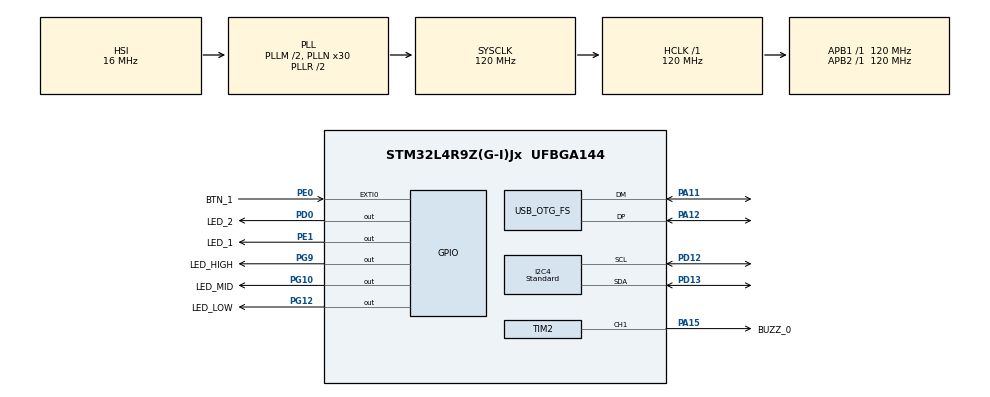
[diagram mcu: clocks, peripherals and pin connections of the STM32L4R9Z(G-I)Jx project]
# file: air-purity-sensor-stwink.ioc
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I2C4.I2C_Speed_Mode=I2C_Standard
I2C4.Speed=100
I2C4.Timing=0x30A175AB
Mcu.Family=STM32L4
Mcu.Name=STM32L4R9Z(G-I)Jx
Mcu.Package=UFBGA144
NVIC.EXTI0_IRQn=true\:0\:0\:false\:false\:true\:true\:true\:true
NVIC.I2C4_ER_IRQn=true\:0\:0\:false\:false\:true\:true\:true\:true
NVIC.I2C4_EV_IRQn=true\:0\:0\:false\:false\:true\:true\:true\:true
NVIC.OTG_FS_IRQn=true\:0\:0\:false\:false\:true\:false\:true\:true
NVIC.PriorityGroup=NVIC_PRIORITYGROUP_4
NVIC.RTC_WKUP_IRQn=true\:0\:0\:false\:false\:true\:true\:true\:true
NVIC.TIM2_IRQn=true\:0\:0\:false\:false\:true\:true\:true\:true
PA11.Mode=Device_Only
PA11.Signal=USB_OTG_FS_DM
PA12.Mode=Device_Only
PA12.Signal=USB_OTG_FS_DP
PA13\ (JTMS/SWDIO).Mode=Serial_Wire
PA13\ (JTMS/SWDIO).Signal=SYS_JTMS-SWDIO
PA14\ (JTCK/SWCLK).Mode=Serial_Wire
PA14\ (JTCK/SWCLK).Signal=SYS_JTCK-SWCLK
PA15\ (JTDI).GPIO_Label=BUZZ_0
PA15\ (JTDI).GPIO_ModeDefaultPP=GPIO_MODE_AF_PP
PA15\ (JTDI).Signal=S_TIM2_CH1
PD0.GPIO_Label=LED_2
PD0.PinState=GPIO_PIN_RESET
PD0.Signal=GPIO_Output
PD12.Mode=I2C
PD12.Signal=I2C4_SCL
PD13.Mode=I2C
PD13.Signal=I2C4_SDA
PE0.GPIO_Label=BTN_1
PE0.GPIO_ModeDefaultEXTI=GPIO_MODE_IT_RISING_FALLING
PE0.Signal=GPXTI0
PE1.GPIO_Label=LED_1
PE1.Signal=GPIO_Output
PG10.GPIO_Label=LED_MID
PG10.Signal=GPIO_Output
PG12.GPIO_Label=LED_LOW
PG12.Signal=GPIO_Output
PG9.GPIO_Label=LED_HIGH
PG9.Signal=GPIO_Output
ProjectManager.HeapSize=0x200
ProjectManager.StackSize=0x400
ProjectManager.TargetToolchain=CMake
RCC.ADCFreq_Value=76800000
RCC.AHBFreq_Value=120000000
RCC.APB1Freq_Value=120000000
RCC.APB1TimFreq_Value=120000000
RCC.APB2Freq_Value=120000000
RCC.APB2TimFreq_Value=120000000
RCC.CK48CLockSelection=RCC_USBCLKSOURCE_HSI48
RCC.CortexFreq_Value=120000000
RCC.DSITX_Div=1
RCC.HCLKFreq_Value=120000000
RCC.HSE_VALUE=16000000
RCC.HSI48_VALUE=48000000
RCC.HSI_VALUE=16000000
RCC.LSE_VALUE=32768
RCC.MSI_VALUE=4000000
RCC.PLLDSIODF=DSI_PLL_OUT_DIV2
RCC.PLLM1=2
RCC.PLLM2=5
RCC.PLLM3=2
RCC.PLLN=30
RCC.PLLSAI1N=96
RCC.PLLSAI1P=RCC_PLLP_DIV25
RCC.PLLSAI1Q=RCC_PLLQ_DIV4
RCC.PLLSAI1R=RCC_PLLR_DIV4
RCC.PLLSourceVirtual=RCC_PLLSOURCE_HSI
RCC.SDMMCClockSelection=RCC_SDIOCLKSOURCE_CLK48
RCC.SYSCLKFreq_VALUE=120000000
RCC.SYSCLKSource=RCC_SYSCLKSOURCE_PLLCLK
RCC.USBFreq_Value=48000000
RCC.VCOOutputFreq_Value=240000000
SH.S_TIM2_CH1.0=TIM2_CH1,PWM Generation1 CH1
TIM2.Channel-PWM\ Generation1\ CH1=TIM_CHANNEL_1
TIM2.OCFastMode_PWM-PWM\ Generation1\ CH1=TIM_OCFAST_ENABLE
TIM2.Period=999
TIM2.Prescaler=119
USB_DEVICE.CLASS_NAME_FS=CDC
USB_DEVICE.VirtualMode=Cdc
USB_DEVICE.VirtualModeFS=Cdc_FS
USB_OTG_FS.VirtualMode=Device_Only
VP_RTC_VS_RTC_Activate.Mode=RTC_Enabled
VP_RTC_VS_RTC_WakeUp_intern.Mode=WakeUp
VP_TIM2_VS_ClockSourceINT.Mode=Internal
VP_USB_DEVICE_VS_USB_DEVICE_CDC_FS.Mode=CDC_FS
board=STEVAL-STWINKT1B

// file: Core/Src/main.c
/* USER CODE BEGIN Header */
/**
 ******************************************************************************
 * @file           : main.c
 * @brief          : Main program body
 ******************************************************************************
 * @attention
 *
 * Copyright (c) 2025 STMicroelectronics.
 * All rights reserved.
 *
 * This software is licensed under terms that can be found in the LICENSE file
 * in the root directory of this software component.
 * If no LICENSE file comes with this software, it is provided AS-IS.
 *
 ******************************************************************************
 */
/* USER CODE END Header */
#include "main.h"
#include "usb_device.h"

/* USER CODE BEGIN Includes */
/**
 * @brief Project drivers / middleware.
 */
#include "driver_pwm-buzzer.h"
#include "driver_scd4x.h"
#include "driver_scd4x_debug.h"
#include "driver_scd4x_interface.h"
#include "driver_sen5x.h"
#include "driver_sen5x_debug.h"
#include "driver_sen5x_interface.h"
#include "driver_serial.h"
#include "oled_graph.h"

#include "ssd1306.h"
#include "ssd1306_conf.h"
#include "ssd1306_fonts.h"
#include "ssd1306_tests.h"

#include <math.h>
#include <stdbool.h>
#include <stddef.h>
#include <stdint.h>
#include <stdio.h>
#include <string.h>
/* USER CODE END Includes */

I2C_HandleTypeDef hi2c4;

RTC_HandleTypeDef hrtc;

TIM_HandleTypeDef htim2;

/* USER CODE BEGIN PV */
/**
 * @brief Sensor handles.
 */
static scd4x_handle_t scd4x_handle; /**< Initialized in SCD4x_Init() */
static sen5x_handle_t sen5x_handle; /**< Initialized in SEN5X_Init() */

/**
 * @brief Alert melody used by the buzzer.
 */
static const Buzzer_Note alert_melody[] = {
    {NOTE_C4, 166}, {NOTE_A4, 166}, {NOTE_F4, 166}, {0, 100}, /**< 0 = rest */
    {0xFFFF, 0},                                              /**< terminator */
};

/**
 * @brief Latest air data snapshot (for UI + serial).
 */
typedef struct {
  uint16_t co2_ppm;
  int16_t co2_delta_ppm;

  float pm1_ug_m3;
  float pm2p5_ug_m3;
  float pm4_ug_m3;
  float pm10_ug_m3;

  float voc_index;
  float nox_index;
} air_data_t;

static air_data_t g_air = {0};

/**
 * @brief Button event types emitted by EXTI ISR.
 */
typedef enum {
  BTN_EVENT_NONE = 0,
  BTN_EVENT_SHORT = 1,
  BTN_EVENT_SLEEP_TOGGLE = 2,
  BTN_EVENT_MUTE_TOGGLE = 3,
} btn_event_t;

/**
 * @brief Button runtime state (debounce + press timing).
 */
static volatile btn_event_t g_btn_event = BTN_EVENT_NONE;
static volatile uint8_t g_btn_pressed = 0U;
static volatile uint32_t g_btn_press_ms = 0U;
static volatile uint32_t g_btn_last_edge_ms = 0U;

/**
 * @brief Low power UI state (display off, keep sampling).
 */
static volatile uint8_t g_in_low_power = 0U;
static volatile uint8_t g_btn_wake = 0U;

/**
 * @brief Schedules.
 */
static uint32_t g_next_oled_ms = 0U;
static uint32_t g_next_legend_ms = 0U;
static uint32_t g_next_sample_ms = 0U;

static uint8_t g_active_item = 0U;

/**
 * @brief Sampling pending flags and per-sensor “start time” for timeouts.
 */
static uint8_t g_scd_pending = 0U;
static uint8_t g_sen_pending = 0U;
static uint32_t g_scd_start_ms = 0U;
static uint32_t g_sen_start_ms = 0U;

/**
 * @brief Serial print “dirty” flag (print only when new data arrives).
 */
static uint8_t g_serial_dirty = 0U;

/**
 * @brief Buzzer mute flag.
 */
static uint8_t g_buzzer_muted = 0U;

/**
 * @brief Alarm state.
 */
static uint32_t g_alarm_high_start_ms = 0U;
static uint32_t g_alarm_last_sustain_ms = 0U;
static uint32_t g_alarm_last_extreme_ms = 0U;

/**
 * @brief Small OLED “toast” message (non-blocking).
 */
static uint8_t g_toast_active = 0U;
static uint32_t g_toast_start_ms = 0U;
static uint32_t g_toast_dur_ms = 0U;
static char g_toast_msg[16] = {0};
/* USER CODE END PV */

void SystemClock_Config(void);
static void MX_GPIO_Init(void);
static void MX_I2C4_Init(void);
static void MX_TIM2_Init(void);
static void MX_RTC_Init(void);
/* USER CODE BEGIN PFP */
static void SCD4x_Init(scd4x_handle_t *scd4x_handle_p);
static void SEN5X_Init(sen5x_handle_t *sen5x_handle_p);
static void run_debug_tests(void);
static void ssd1306_DisplayDebugMode(void);
bool poll_is_debug_mode(void);

static uint32_t time_elapsed_ms(uint32_t now, uint32_t then);

static float normalize_for_graph(pollutant_id_t id, float value);
static aq_level_t aq_level_for(pollutant_id_t id, float value);
static void leds_set_level(aq_level_t level);

static uint8_t sensors_are_oneshot(void);
static void sensors_start_if_needed(uint32_t now);
static void sensors_stop_if_oneshot(void);
static void poll_scd4x(uint32_t now);
static void poll_sen5x(uint32_t now);

static void advance_legend(void);
static pollutant_id_t active_pollutant(void);

static void display_group_co2(void);
static void display_group_voc_nox(pollutant_id_t active);
static void display_group_pm1_pm25(pollutant_id_t active);
static void display_group_pm4_pm10(pollutant_id_t active);

static void serial_print_latest(pollutant_id_t active);

static void enter_low_power_mode(void);
static void exit_low_power_mode(void);

static float pollutant_value(pollutant_id_t id);

static void oled_toast_set(const char *msg, uint32_t now, uint32_t dur_ms);
static uint8_t oled_toast_is_active(uint32_t now);

static void alarm_tick(uint32_t now);
static void alarm_trigger(uint8_t extreme, uint32_t now);

static void ssd1306_DisplayCenteredMessage_11x18(char *msg);
/* USER CODE END PFP */

/* USER CODE BEGIN 0 */
/**
 * @brief Thresholds per pollutant used for AQ level + alarm comparisons.
 *
 * NOTE: Tune these later to your chosen standards.
 */
static const pollutant_thresholds_t g_thresh[POL_COUNT] = {
    [POL_CO2_DELTA] = {550.0f, 800.0f, 1350.0f}, /* Δppm */
    [POL_VOC_INDEX] = {100.0f, 150.0f, 500.0f},  /* VOC index */
    [POL_NOX_INDEX] = {1.0f, 10.0f, 50.0f},      /* NOx index */
    [POL_PM1_UGM3] = {5.0f, 10.0f, 20.0f},       /* μg/m3 */
    [POL_PM2P5_UGM3] = {5.0f, 10.0f, 20.0f},     /* μg/m3 */
    [POL_PM4_UGM3] = {15.0f, 20.0f, 50.0f},      /* μg/m3 */
    [POL_PM10_UGM3] = {15.0f, 20.0f, 50.0f},     /* μg/m3 */
};

/**
 * @brief Non-blocking OLED toast setter.
 */
static void oled_toast_set(const char *msg, uint32_t now, uint32_t dur_ms) {
  if (msg == NULL) {
    return;
  }

  size_t i = 0;
  for (; i < sizeof(g_toast_msg) - 1 && msg[i] != '\0'; i++) {
    g_toast_msg[i] = msg[i];
  }
  g_toast_msg[i] = '\0';

  g_toast_active = 1U;
  g_toast_start_ms = now;
  g_toast_dur_ms = dur_ms;
}

/**
 * @brief Check if toast is still active.
 */
static uint8_t oled_toast_is_active(uint32_t now) {
  if (!g_toast_active) {
    return 0U;
  }

  if (time_elapsed_ms(now, g_toast_start_ms) < g_toast_dur_ms) {
    return 1U;
  }

  g_toast_active = 0U;
  return 0U;
}

/**
 * @brief Return current value for a pollutant (for alarm scan).
 */
static float pollutant_value(pollutant_id_t id) {
  switch (id) {
  case POL_CO2_DELTA:
    return (float)g_air.co2_delta_ppm;
  case POL_VOC_INDEX:
    return g_air.voc_index;
  case POL_NOX_INDEX:
    return g_air.nox_index;
  case POL_PM1_UGM3:
    return g_air.pm1_ug_m3;
  case POL_PM2P5_UGM3:
    return g_air.pm2p5_ug_m3;
  case POL_PM4_UGM3:
    return g_air.pm4_ug_m3;
  case POL_PM10_UGM3:
    return g_air.pm10_ug_m3;
  default:
    return 0.0f;
  }
}

/**
 * @brief Trigger an alarm (sustained or extreme).
 */
static void alarm_trigger(uint8_t extreme, uint32_t now) {
#if (AIR_ALARM_WAKE_ON_ALARM == 1U)
  if (g_in_low_power) {
    exit_low_power_mode();
  }
#endif

  oled_toast_set(extreme ? "EXTREME!" : "ALARM!", now, 1500U);

  if (g_buzzer_muted) {
    serial_print("ALARM: %s (muted)\n", extreme ? "EXTREME" : "SUSTAINED");
    return;
  }

  serial_print("ALARM: %s\n", extreme ? "EXTREME" : "SUSTAINED");
  Buzzer_PlayMelody(alert_melody); /**< Blocking but short */
}

/**
 * @brief Alarm state machine tick.
 *
 * - If any pollutant is above MID threshold, “high” is true.
 * - If above MID threshold * multiplier, “extreme” is true.
 * - Sustained-high triggers every AIR_ALARM_SUSTAIN_MS after the first window.
 * - Extreme triggers every AIR_ALARM_EXTREME_MS while extreme persists.
 */
static void alarm_tick(uint32_t now) {
  uint8_t any_high = 0U;
  uint8_t any_extreme = 0U;

  for (pollutant_id_t id = (pollutant_id_t)0; id < POL_COUNT; id++) {
    float v = pollutant_value(id);
    if (!isfinite(v)) {
      continue;
    }

    float high_thr = g_thresh[id].mid_max;
    if (v >= high_thr) {
      any_high = 1U;
      if (v >= (high_thr * AIR_ALARM_EXTREME_MULTIPLIER)) {
        any_extreme = 1U;
      }
    }
  }

  /** Track sustained-high window. */
  if (!any_high) {
    g_alarm_high_start_ms = 0U;
    g_alarm_last_sustain_ms = 0U;
  } else if (g_alarm_high_start_ms == 0U) {
    g_alarm_high_start_ms = now;
  }

  /** EXTREME: alarm every AIR_ALARM_EXTREME_MS while extreme persists. */
  if (any_extreme) {
    if (g_alarm_last_extreme_ms == 0U ||
        time_elapsed_ms(now, g_alarm_last_extreme_ms) >= AIR_ALARM_EXTREME_MS) {
      alarm_trigger(1U, now);
      g_alarm_last_extreme_ms = now;
    }
    return; /**< Extreme overrides sustained. */
  } else {
    g_alarm_last_extreme_ms = 0U;
  }

  /** SUSTAINED: after AIR_ALARM_SUSTAIN_MS in HIGH, repeat every same interval.
   */
  if (any_high && g_alarm_high_start_ms != 0U &&
      time_elapsed_ms(now, g_alarm_high_start_ms) >= AIR_ALARM_SUSTAIN_MS) {

    if (g_alarm_last_sustain_ms == 0U ||
        time_elapsed_ms(now, g_alarm_last_sustain_ms) >= AIR_ALARM_SUSTAIN_MS) {
      alarm_trigger(0U, now);
      g_alarm_last_sustain_ms = now;
    }
  }
}

/**
 * @brief Monotonic elapsed milliseconds helper (handles uint32 wrap naturally).
 */
static uint32_t time_elapsed_ms(uint32_t now, uint32_t then) {
  return (uint32_t)(now - then);
}

/**
 * @brief Clamp float.
 */
static float clampf(float v, float lo, float hi) {
  if (v < lo) {
    return lo;
  }
  if (v > hi) {
    return hi;
  }
  return v;
}

/**
 * @brief Convert pollutant value into AQ level (LOW/MID/HIGH).
 */
static aq_level_t aq_level_for(pollutant_id_t id, float value) {
  if (value <= g_thresh[id].low_max) {
    return AQ_LEVEL_LOW;
  }
  if (value <= g_thresh[id].mid_max) {
    return AQ_LEVEL_MID;
  }
  return AQ_LEVEL_HIGH;
}

/**
 * @brief Normalize value to 0..100 for graph storage.
 */
static float normalize_for_graph(pollutant_id_t id, float value) {
  float maxv = g_thresh[id].graph_max;
  if (maxv <= 0.0f) {
    return 0.0f;
  }
  return (clampf(value, 0.0f, maxv) * 100.0f) / maxv;
}

/**
 * @brief Set LEDs according to AQ level.
 */
static void leds_set_level(aq_level_t level) {
  /* In low power mode: always force LEDs OFF. */
  if (g_in_low_power) {
    HAL_GPIO_WritePin(LED_LOW_GPIO_Port, LED_LOW_Pin, GPIO_PIN_RESET);
    HAL_GPIO_WritePin(LED_MID_GPIO_Port, LED_MID_Pin, GPIO_PIN_RESET);
    HAL_GPIO_WritePin(LED_HIGH_GPIO_Port, LED_HIGH_Pin, GPIO_PIN_RESET);
    return;
  }

  HAL_GPIO_WritePin(LED_LOW_GPIO_Port, LED_LOW_Pin,
                    (level == AQ_LEVEL_LOW) ? GPIO_PIN_SET : GPIO_PIN_RESET);
  HAL_GPIO_WritePin(LED_MID_GPIO_Port, LED_MID_Pin,
                    (level == AQ_LEVEL_MID) ? GPIO_PIN_SET : GPIO_PIN_RESET);
  HAL_GPIO_WritePin(LED_HIGH_GPIO_Port, LED_HIGH_Pin,
                    (level == AQ_LEVEL_HIGH) ? GPIO_PIN_SET : GPIO_PIN_RESET);
}

/**
 * @brief Center big message using Font_11x18 (11x18 px).
 *
 * Fix: if string is wider than the screen, x would go negative.
 * We clamp x/y to valid screen coordinates so the message is never “invisible”.
 */
static void ssd1306_DisplayCenteredMessage_11x18(char *msg) {
  const int32_t W = 11;
  const int32_t H = 18;

  int32_t px = (int32_t)strlen(msg) * W;
  int32_t x = ((int32_t)SSD1306_WIDTH - px) / 2;
  int32_t y = ((int32_t)SSD1306_HEIGHT - H) / 2;

  if (x < 0) {
    x = 0;
  }
  if (y < 0) {
    y = 0;
  }

  ssd1306_SetCursor((uint8_t)x, (uint8_t)y);
  ssd1306_WriteString(msg, Font_11x18, White);
}

/**
 * @brief Fixed 1 decimal formatter without using %f.
 */
static void fmt_fixed_1(char *dst, size_t dst_sz, float v) {
  if (!isfinite(v)) {
    (void)snprintf(dst, dst_sz, "-");
    return;
  }

  int32_t x10 = (int32_t)(v * 10.0f + (v >= 0.0f ? 0.5f : -0.5f));
  int32_t ip = x10 / 10;
  int32_t fp = x10 % 10;
  if (fp < 0) {
    fp = -fp;
  }

  (void)snprintf(dst, dst_sz, "%ld.%01ld", (long)ip, (long)fp);
}

/**
 * @brief Rounded integer formatter.
 */
static void fmt_round_int(char *dst, size_t dst_sz, float v) {
  if (!isfinite(v)) {
    (void)snprintf(dst, dst_sz, "-");
    return;
  }
  long iv = (long)(v >= 0.0f ? (v + 0.5f) : (v - 0.5f));
  (void)snprintf(dst, dst_sz, "%ld", iv);
}

/**
 * @brief Debug splash screen.
 */
void ssd1306_DisplayDebugMode(void) {
  ssd1306_Fill(Black);
  ssd1306_DisplayCenteredMessage_11x18("DEBUG MODE");
  ssd1306_UpdateScreen();
}

/**
 * @brief Legend sequence (drives which “page” is shown + which pollutant drives
 * LEDs).
 */
static const pollutant_id_t kLegendSeq[] = {
    POL_CO2_DELTA,  POL_VOC_INDEX, POL_NOX_INDEX, POL_PM1_UGM3,
    POL_PM2P5_UGM3, POL_PM4_UGM3,  POL_PM10_UGM3,
};

/**
 * @brief Advance legend index.
 */
static void advance_legend(void) {
  g_active_item =
      (uint8_t)((g_active_item + 1U) %
                (uint8_t)(sizeof(kLegendSeq) / sizeof(kLegendSeq[0])));
}

/**
 * @brief Get active pollutant.
 */
static pollutant_id_t active_pollutant(void) {
  return kLegendSeq[g_active_item];
}

/* --- OLED group renderers --- */
/**
 * @brief Render CO2 group (CO2 ppm + delta, with graph).
 */
static void display_group_co2(void) {
  char l1[24];
  char l2[24];

  (void)snprintf(l1, sizeof(l1), "CO2: %u ppm", (unsigned)g_air.co2_ppm);
  (void)snprintf(l2, sizeof(l2), "dCO2: %d ppm", (int)g_air.co2_delta_ppm);

  graph_plots_1t1b_ex(NULL, &sensor_ring_buffer_1, 0, 0, SSD1306_WIDTH,
                      SSD1306_HEIGHT, 2, "", "CO2", 1, 0);

  ssd1306_SetCursor(2, 2);
  ssd1306_WriteString(l1, Font_7x10, White);
  ssd1306_SetCursor(2, 14);
  ssd1306_WriteString(l2, Font_7x10, White);
}

/**
 * @brief Render VOC/NOx group.
 */
static void display_group_voc_nox(pollutant_id_t active) {
  char l1[24], l2[24];
  char voc_s[12], nox_s[12];

  fmt_round_int(voc_s, sizeof(voc_s), g_air.voc_index);
  fmt_round_int(nox_s, sizeof(nox_s), g_air.nox_index);

  (void)snprintf(l1, sizeof(l1), "VOC: %s", voc_s);
  (void)snprintf(l2, sizeof(l2), "NOx: %s", nox_s);

  graph_plots_1t2b_ex(NULL, &sensor_ring_buffer_2, &sensor_ring_buffer_3, 0, 0,
                      SSD1306_WIDTH, SSD1306_HEIGHT, 2, "", "VOC", "NOx",
                      (active == POL_VOC_INDEX) ? 1 : 2, 0);

  ssd1306_SetCursor(2, 2);
  ssd1306_WriteString(l1, Font_7x10, White);
  ssd1306_SetCursor(2, 14);
  ssd1306_WriteString(l2, Font_7x10, White);
}

/**
 * @brief Render PM1/PM2.5 group.
 */
static void display_group_pm1_pm25(pollutant_id_t active) {
  char l1[26], l2[25];
  char pm_1[12], pm_25[12];

  fmt_round_int(pm_1, sizeof(pm_1), g_air.pm1_ug_m3);
  fmt_round_int(pm_25, sizeof(pm_25), g_air.pm2p5_ug_m3);

  (void)snprintf(l1, sizeof(l1), "PM1: %s ug/m^3", pm_1);
  (void)snprintf(l2, sizeof(l2), "PM2.5: %s ug/m^3", pm_25);

  graph_plots_1t2b_ex(NULL, &sensor_ring_buffer_4, &sensor_ring_buffer_5, 0, 0,
                      SSD1306_WIDTH, SSD1306_HEIGHT, 2, "", "PM1", "PM2.5",
                      (active == POL_PM1_UGM3) ? 1 : 2, 0);

  ssd1306_SetCursor(2, 2);
  ssd1306_WriteString(l1, Font_7x10, White);
  ssd1306_SetCursor(2, 14);
  ssd1306_WriteString(l2, Font_7x10, White);
}

/**
 * @brief Render PM4/PM10 group.
 */
static void display_group_pm4_pm10(pollutant_id_t active) {
  char l1[24], l2[24];
  char pm_4[12], pm_10[12];

  fmt_round_int(pm_4, sizeof(pm_4), g_air.pm4_ug_m3);
  fmt_round_int(pm_10, sizeof(pm_10), g_air.pm10_ug_m3);

  (void)snprintf(l1, sizeof(l1), "PM4: %s ug/m^3", pm_4);
  (void)snprintf(l2, sizeof(l2), "PM10: %s ug/m^3", pm_10);

  graph_plots_1t2b_ex(NULL, &sensor_ring_buffer_6, &sensor_ring_buffer_7, 0, 0,
                      SSD1306_WIDTH, SSD1306_HEIGHT, 2, "", "PM4", "PM10",
                      (active == POL_PM4_UGM3) ? 1 : 2, 0);

  ssd1306_SetCursor(2, 2);
  ssd1306_WriteString(l1, Font_7x10, White);
  ssd1306_SetCursor(2, 14);
  ssd1306_WriteString(l2, Font_7x10, White);
}

/* --- sensors --- */
/**
 * @brief Determine if sensors should run in one-shot mode (interval >
 * threshold).
 */
static uint8_t sensors_are_oneshot(void) {
  return (AIR_SENSOR_SAMPLE_INTERVAL_S > AIR_SENSOR_STOP_IF_INTERVAL_GT_S) ? 1U
                                                                           : 0U;
}

/**
 * @brief Start sensors if in one-shot mode and pending.
 */
static void sensors_start_if_needed(uint32_t now) {
  if (!sensors_are_oneshot()) {
    return;
  }

  if (g_scd_pending && g_scd_start_ms == 0U) {
    if (scd4x_start_periodic_measurement(&scd4x_handle) == 0) {
      g_scd_start_ms = now;
    } else {
      g_scd_pending = 0U;
    }
  }

  if (g_sen_pending && g_sen_start_ms == 0U) {
    if (sen5x_start_measurement(&sen5x_handle) == 0) {
      g_sen_start_ms = now;
    } else {
      g_sen_pending = 0U;
    }
  }
}

/**
 * @brief Stop sensors in one-shot mode after pending cleared.
 */
static void sensors_stop_if_oneshot(void) {
  if (!sensors_are_oneshot()) {
    return;
  }

  if (g_scd_pending == 0U && g_scd_start_ms != 0U) {
    (void)scd4x_stop_periodic_measurement(&scd4x_handle);
    g_scd_start_ms = 0U;
  }

  if (g_sen_pending == 0U && g_sen_start_ms != 0U) {
    (void)sen5x_stop_measurement(&sen5x_handle);
    g_sen_start_ms = 0U;
  }
}

/**
 * @brief Poll SCD4x non-blocking.
 */
static void poll_scd4x(uint32_t now) {
  if (!g_scd_pending) {
    return;
  }

  if (g_scd_start_ms != 0U && time_elapsed_ms(now, g_scd_start_ms) > 20000U) {
    serial_print("SCD4x: timeout\n");
    g_scd_pending = 0U;
    g_serial_dirty = 1U;
    return;
  }

  scd4x_bool_t ready = SCD4X_BOOL_FALSE;
  if (scd4x_get_data_ready_status(&scd4x_handle, &ready) != 0) {
    return;
  }
  if (ready == SCD4X_BOOL_FALSE) {
    return;
  }

  uint16_t co2_raw = 0, co2_ppm = 0;
  uint16_t t_raw = 0, rh_raw = 0;
  float t_c = 0.0f, rh = 0.0f;

  if (scd4x_read(&scd4x_handle, &co2_raw, &co2_ppm, &t_raw, &t_c, &rh_raw,
                 &rh) != 0) {
    return;
  }
  if (co2_ppm == 0U && co2_raw != 0U) {
    co2_ppm = co2_raw;
  }

  g_air.co2_ppm = co2_ppm;
  int32_t d = (int32_t)co2_ppm - (int32_t)AIR_CO2_OUTDOOR_PPM;
  if (d < 0) {
    d = 0;
  }
  g_air.co2_delta_ppm = (int16_t)d;

  ring_buffer_push(
      &sensor_ring_buffer_1,
      normalize_for_graph(POL_CO2_DELTA, (float)g_air.co2_delta_ppm));

  g_scd_pending = 0U;
  g_serial_dirty = 1U;
}

/**
 * @brief Poll SEN5x non-blocking (SEN55 data path).
 */
static void poll_sen5x(uint32_t now) {
  if (!g_sen_pending) {
    return;
  }

  if (g_sen_start_ms != 0U && time_elapsed_ms(now, g_sen_start_ms) > 20000U) {
    serial_print("SEN5x: timeout (no data-ready)\n");
    g_sen_pending = 0U;
    g_serial_dirty = 1U;
    return;
  }

  sen5x_data_ready_flag_t flag = SEN5X_DATA_READY_FLAG_NOT_READY;
  if (sen5x_read_data_flag(&sen5x_handle, &flag) != 0) {
    return;
  }
  if (flag != SEN5X_DATA_READY_FLAG_AVAILABLE) {
    return;
  }

  sen55_data_t d = {0};
  if (sen55_read(&sen5x_handle, &d) != 0) {
    return;
  }

  if (d.pm_valid) {
    g_air.pm1_ug_m3 = d.pm1p0_ug_m3;
    g_air.pm2p5_ug_m3 = d.pm2p5_ug_m3;
    g_air.pm4_ug_m3 = d.pm4p0_ug_m3;
    g_air.pm10_ug_m3 = d.pm10_ug_m3;
  }
  g_air.voc_index = d.voc_index;
  g_air.nox_index = d.nox_index;

  ring_buffer_push(&sensor_ring_buffer_2,
                   normalize_for_graph(POL_VOC_INDEX, g_air.voc_index));
  ring_buffer_push(&sensor_ring_buffer_3,
                   normalize_for_graph(POL_NOX_INDEX, g_air.nox_index));
  ring_buffer_push(&sensor_ring_buffer_4,
                   normalize_for_graph(POL_PM1_UGM3, g_air.pm1_ug_m3));
  ring_buffer_push(&sensor_ring_buffer_5,
                   normalize_for_graph(POL_PM2P5_UGM3, g_air.pm2p5_ug_m3));
  ring_buffer_push(&sensor_ring_buffer_6,
                   normalize_for_graph(POL_PM4_UGM3, g_air.pm4_ug_m3));
  ring_buffer_push(&sensor_ring_buffer_7,
                   normalize_for_graph(POL_PM10_UGM3, g_air.pm10_ug_m3));

  g_sen_pending = 0U;
  g_serial_dirty = 1U;
}

/**
 * @brief Print latest values over serial.
 */
static void serial_print_latest(pollutant_id_t active) {
  char pm1_s[12], pm25_s[12], pm4_s[12], pm10_s[12];
  char voc_s[12], nox_s[12];

  fmt_fixed_1(pm1_s, sizeof(pm1_s), g_air.pm1_ug_m3);
  fmt_fixed_1(pm25_s, sizeof(pm25_s), g_air.pm2p5_ug_m3);
  fmt_fixed_1(pm4_s, sizeof(pm4_s), g_air.pm4_ug_m3);
  fmt_fixed_1(pm10_s, sizeof(pm10_s), g_air.pm10_ug_m3);

  fmt_round_int(voc_s, sizeof(voc_s), g_air.voc_index);
  fmt_round_int(nox_s, sizeof(nox_s), g_air.nox_index);

  serial_print("AIR: CO2=%u ppm (d=%d), PM1=%s, PM2.5=%s, PM4=%s, PM10=%s, "
               "VOC=%s, NOx=%s | active=%u\n",
               (unsigned)g_air.co2_ppm, (int)g_air.co2_delta_ppm, pm1_s, pm25_s,
               pm4_s, pm10_s, voc_s, nox_s, (unsigned)active);
}

/**
 * @brief Enter low power mode (display off, keep measurements).
 */
static void enter_low_power_mode(void) {
  if (g_in_low_power) {
    return;
  }

  g_in_low_power = 1U;

  /** One last message before display off. */
  ssd1306_Fill(Black);
  ssd1306_DisplayCenteredMessage_11x18("LOW POWER");
  ssd1306_UpdateScreen();
  HAL_Delay(1000);

  ssd1306_SetDisplayOn(0);
}

/**
 * @brief Exit low power mode (display on + schedule redraw).
 */
static void exit_low_power_mode(void) {
  if (!g_in_low_power) {
    return;
  }

  ssd1306_SetDisplayOn(1);
  ssd1306_Init();

  g_in_low_power = 0U;

  uint32_t now = HAL_GetTick();
  g_next_oled_ms = now; /**< redraw ASAP */
  g_next_legend_ms =
      now + UI_LEGEND_STEP_MS; /**< avoid immediate auto-advance */
  oled_toast_set("WAKE", now, 800U);
}

/**
 * @brief Button EXTI: short press = next page; long press = low power; very
 * long = mute.
 */
void HAL_GPIO_EXTI_Callback(uint16_t GPIO_Pin) {
  if (GPIO_Pin != BTN_1_Pin) {
    return;
  }

  uint32_t now = HAL_GetTick();
  if (time_elapsed_ms(now, g_btn_last_edge_ms) < BTN_DEBOUNCE_MS) {
    return;
  }
  g_btn_last_edge_ms = now;

  GPIO_PinState st = HAL_GPIO_ReadPin(BTN_1_GPIO_Port, BTN_1_Pin);

  if (st == GPIO_PIN_SET) {
    g_btn_pressed = 1U;
    g_btn_press_ms = now;
  } else {
    if (g_btn_pressed) {
      g_btn_pressed = 0U;
      uint32_t dur = time_elapsed_ms(now, g_btn_press_ms);

      if (dur >= BTN_MUTE_TOGGLE_MS) {
        g_btn_event = BTN_EVENT_MUTE_TOGGLE;
      } else if (dur >= BTN_LONG_PRESS_MS) {
        g_btn_event = BTN_EVENT_SLEEP_TOGGLE;
      } else {
        g_btn_event = BTN_EVENT_SHORT;
      }
    }
  }
}
/* USER CODE END 0 */

int main(void) {

  /* MCU Configuration--------------------------------------------------------*/

  /* Reset of all peripherals, Initializes the Flash interface and the Systick.
   */
  HAL_Init();

  /* Configure the system clock */
  SystemClock_Config();

  /* Initialize all configured peripherals */
  MX_GPIO_Init();
  MX_I2C4_Init();
  MX_TIM2_Init();
  MX_USB_DEVICE_Init();
  MX_RTC_Init();
  /* USER CODE BEGIN 2 */
  bool in_debug_mode = poll_is_debug_mode();

  if (in_debug_mode) {
    Buzzer_PlayMelody(alert_melody);
    for (int8_t ctr = 0; ctr < 6; ++ctr) {
      HAL_GPIO_TogglePin(LED_HIGH_GPIO_Port, LED_HIGH_Pin);
      HAL_Delay(33);
      HAL_GPIO_TogglePin(LED_MID_GPIO_Port, LED_MID_Pin);
      HAL_Delay(33);
      HAL_GPIO_TogglePin(LED_LOW_GPIO_Port, LED_LOW_Pin);
      HAL_Delay(33);
    }
  }

  ssd1306_Init();

  serial_print("\n===== Initializing Hardware =====\n");
  ssd1306_DisplayCenteredMessage_11x18("LOADING");
  ssd1306_UpdateScreen();

  serial_print("Project Name: " PROJECT_NAME "\n");
  serial_print("Project Version: " PROJECT_VERSION "\n");

  char project_name_and_version_msg[] = PROJECT_NAME_AND_VERSION_PADDED;
  for (uint8_t i = 0; i < 20; i++) {
    ssd1306_SetCursor(0, SSD1306_HEIGHT - Font_7x10.height);
    ssd1306_WriteString(project_name_and_version_msg, Font_7x10, White);
    ssd1306_UpdateScreen();

    char ch = project_name_and_version_msg[0];
    memmove(project_name_and_version_msg, project_name_and_version_msg + 1,
            sizeof(project_name_and_version_msg) - 2);
    project_name_and_version_msg[sizeof(project_name_and_version_msg) - 2] = ch;
  }

  SCD4x_Init(&scd4x_handle);
  SEN5X_Init(&sen5x_handle);

  if (in_debug_mode) {
    ssd1306_DisplayDebugMode();
    serial_print("DEBUG MODE: Running peripheral tests...\n");
    while (1) {
      run_debug_tests();
      ssd1306_DisplayDebugMode();
      HAL_Delay(1000);
    }
  }

  uint32_t now = HAL_GetTick();
  g_active_item = 0U;
  g_next_oled_ms = now;
  g_next_legend_ms = now + UI_LEGEND_STEP_MS;
  g_next_sample_ms = now; /**< sample ASAP */

  if (!sensors_are_oneshot()) {
    (void)scd4x_start_periodic_measurement(&scd4x_handle);
    (void)sen5x_start_measurement(&sen5x_handle);
  }
  /* USER CODE END 2 */

  /* Infinite loop */
  while (1) {

    /* USER CODE BEGIN 3 */
    uint32_t now = HAL_GetTick();

    /** --- handle button events --- */
    btn_event_t ev = g_btn_event;
    if (ev != BTN_EVENT_NONE) {
      __disable_irq();
      g_btn_event = BTN_EVENT_NONE;
      __enable_irq();

      if (ev == BTN_EVENT_SHORT) {
        if (g_in_low_power) {
          exit_low_power_mode();
        }
        advance_legend();
        g_next_legend_ms =
            now + UI_LEGEND_STEP_MS; /**< reset auto-cycle timer */
      } else if (ev == BTN_EVENT_SLEEP_TOGGLE) {
        if (g_in_low_power) {
          exit_low_power_mode();
        } else {
          /* Also disable LEDs immediately. */
          HAL_GPIO_WritePin(LED_LOW_GPIO_Port, LED_LOW_Pin, GPIO_PIN_RESET);
          HAL_GPIO_WritePin(LED_MID_GPIO_Port, LED_MID_Pin, GPIO_PIN_RESET);
          HAL_GPIO_WritePin(LED_HIGH_GPIO_Port, LED_HIGH_Pin, GPIO_PIN_RESET);
          enter_low_power_mode();
        }
        now = HAL_GetTick();
      } else if (ev == BTN_EVENT_MUTE_TOGGLE) {
        g_buzzer_muted ^= 1U;
        serial_print("BUZZER: %s\n", g_buzzer_muted ? "MUTED" : "UNMUTED");
        if (!g_in_low_power) {
          oled_toast_set(g_buzzer_muted ? "MUTED" : "SOUND", now, 1200U);
        }
        if (!g_buzzer_muted) {
          Buzzer_PlayTone(NOTE_C5, 120);
        }
      }
    }

    /** --- auto legend cycle --- */
    if (!g_in_low_power && (now >= g_next_legend_ms)) {
      advance_legend();
      g_next_legend_ms = now + UI_LEGEND_STEP_MS;
    }

    /** --- trigger sampling --- */
    if (now >= g_next_sample_ms) {
      g_next_sample_ms = now + AIR_SENSOR_SAMPLE_INTERVAL_MS;

      g_scd_pending = 1U;
      g_sen_pending = 1U;

      /**
       * IMPORTANT:
       * - In one-shot mode (>30s), keep start_ms == 0 so
       * sensors_start_if_needed() can start the sensors.
       * - In continuous mode, refresh timeout base EVERY sample.
       */
      if (!sensors_are_oneshot()) {
        g_scd_start_ms = now;
        g_sen_start_ms = now;
      }

      if (g_scd_start_ms == 0U) {
        g_scd_start_ms = now;
      }
      if (g_sen_start_ms == 0U) {
        g_sen_start_ms = now;
      }
    }

    /** One-shot start (if interval > 30s). */
    sensors_start_if_needed(now);

    /** Poll sensors (non-blocking). */
    poll_scd4x(now);
    poll_sen5x(now);
    sensors_stop_if_oneshot();

    /** LEDs follow the active pollutant. */
    pollutant_id_t active = active_pollutant();
    float active_value = pollutant_value(active);
    leds_set_level(aq_level_for(active, active_value));

    /** Serial output after new measurements. */
    if (g_serial_dirty) {
      g_serial_dirty = 0U;
      serial_print_latest(active);
    }

    /** Alarms. */
    alarm_tick(now);

    /** OLED refresh. */
    if (!g_in_low_power && (now >= g_next_oled_ms)) {
      g_next_oled_ms = now + UI_OLED_REFRESH_MS;

      ssd1306_Fill(Black);

      if (oled_toast_is_active(now)) {
        ssd1306_DisplayCenteredMessage_11x18(g_toast_msg);
      } else {
        switch (active) {
        case POL_CO2_DELTA:
          display_group_co2();
          break;
        case POL_VOC_INDEX:
        case POL_NOX_INDEX:
          display_group_voc_nox(active);
          break;
        case POL_PM1_UGM3:
        case POL_PM2P5_UGM3:
          display_group_pm1_pm25(active);
          break;
        case POL_PM4_UGM3:
        case POL_PM10_UGM3:
          display_group_pm4_pm10(active);
          break;
        default:
          break;
        }
      }

      ssd1306_UpdateScreen();
    }

    /** Sleep until next interrupt (SysTick/EXTI/USB/etc.). */
    __WFI();
  }
  /* USER CODE END 3 */
}

void SystemClock_Config(void) {
  RCC_OscInitTypeDef RCC_OscInitStruct = {0};
  RCC_ClkInitTypeDef RCC_ClkInitStruct = {0};

  /** Configure the main internal regulator output voltage */
  if (HAL_PWREx_ControlVoltageScaling(PWR_REGULATOR_VOLTAGE_SCALE1_BOOST) !=
      HAL_OK) {
    Error_Handler();
  }

  /** Initializes the RCC Oscillators according to the specified parameters */
  RCC_OscInitStruct.OscillatorType = RCC_OSCILLATORTYPE_HSI48 |
                                     RCC_OSCILLATORTYPE_HSI |
                                     RCC_OSCILLATORTYPE_LSI;
  RCC_OscInitStruct.HSIState = RCC_HSI_ON;
  RCC_OscInitStruct.HSI48State = RCC_HSI48_ON;
  RCC_OscInitStruct.HSICalibrationValue = RCC_HSICALIBRATION_DEFAULT;
  RCC_OscInitStruct.LSIState = RCC_LSI_ON;
  RCC_OscInitStruct.PLL.PLLState = RCC_PLL_ON;
  RCC_OscInitStruct.PLL.PLLSource = RCC_PLLSOURCE_HSI;
  RCC_OscInitStruct.PLL.PLLM = 2;
  RCC_OscInitStruct.PLL.PLLN = 30;
  RCC_OscInitStruct.PLL.PLLP = RCC_PLLP_DIV2;
  RCC_OscInitStruct.PLL.PLLQ = RCC_PLLQ_DIV2;
  RCC_OscInitStruct.PLL.PLLR = RCC_PLLR_DIV2;
  if (HAL_RCC_OscConfig(&RCC_OscInitStruct) != HAL_OK) {
    Error_Handler();
  }

  /** Initializes the CPU, AHB and APB buses clocks */
  RCC_ClkInitStruct.ClockType = RCC_CLOCKTYPE_HCLK | RCC_CLOCKTYPE_SYSCLK |
                                RCC_CLOCKTYPE_PCLK1 | RCC_CLOCKTYPE_PCLK2;
  RCC_ClkInitStruct.SYSCLKSource = RCC_SYSCLKSOURCE_PLLCLK;
  RCC_ClkInitStruct.AHBCLKDivider = RCC_SYSCLK_DIV1;
  RCC_ClkInitStruct.APB1CLKDivider = RCC_HCLK_DIV1;
  RCC_ClkInitStruct.APB2CLKDivider = RCC_HCLK_DIV1;

  if (HAL_RCC_ClockConfig(&RCC_ClkInitStruct, FLASH_LATENCY_5) != HAL_OK) {
    Error_Handler();
  }
}

static void MX_I2C4_Init(void) {

  hi2c4.Instance = I2C4;
  hi2c4.Init.Timing = 0x30A175AB;
  hi2c4.Init.OwnAddress1 = 0;
  hi2c4.Init.AddressingMode = I2C_ADDRESSINGMODE_7BIT;
  hi2c4.Init.DualAddressMode = I2C_DUALADDRESS_DISABLE;
  hi2c4.Init.OwnAddress2 = 0;
  hi2c4.Init.OwnAddress2Masks = I2C_OA2_NOMASK;
  hi2c4.Init.GeneralCallMode = I2C_GENERALCALL_DISABLE;
  hi2c4.Init.NoStretchMode = I2C_NOSTRETCH_DISABLE;
  if (HAL_I2C_Init(&hi2c4) != HAL_OK) {
    Error_Handler();
  }

  /** Configure Analogue filter */
  if (HAL_I2CEx_ConfigAnalogFilter(&hi2c4, I2C_ANALOGFILTER_ENABLE) != HAL_OK) {
    Error_Handler();
  }

  /** Configure Digital filter */
  if (HAL_I2CEx_ConfigDigitalFilter(&hi2c4, 0) != HAL_OK) {
    Error_Handler();
  }
}

static void MX_RTC_Init(void) {

  /** Initialize RTC Only */
  hrtc.Instance = RTC;
  hrtc.Init.HourFormat = RTC_HOURFORMAT_24;
  hrtc.Init.AsynchPrediv = 127;
  hrtc.Init.SynchPrediv = 255;
  hrtc.Init.OutPut = RTC_OUTPUT_DISABLE;
  hrtc.Init.OutPutRemap = RTC_OUTPUT_REMAP_NONE;
  hrtc.Init.OutPutPolarity = RTC_OUTPUT_POLARITY_HIGH;
  hrtc.Init.OutPutType = RTC_OUTPUT_TYPE_OPENDRAIN;
  if (HAL_RTC_Init(&hrtc) != HAL_OK) {
    Error_Handler();
  }
}

static void MX_TIM2_Init(void) {

  TIM_ClockConfigTypeDef sClockSourceConfig = {0};
  TIM_MasterConfigTypeDef sMasterConfig = {0};
  TIM_OC_InitTypeDef sConfigOC = {0};

  htim2.Instance = TIM2;
  htim2.Init.Prescaler = 119;
  htim2.Init.CounterMode = TIM_COUNTERMODE_UP;
  htim2.Init.Period = 999;
  htim2.Init.ClockDivision = TIM_CLOCKDIVISION_DIV1;
  htim2.Init.AutoReloadPreload = TIM_AUTORELOAD_PRELOAD_DISABLE;
  if (HAL_TIM_Base_Init(&htim2) != HAL_OK) {
    Error_Handler();
  }
  sClockSourceConfig.ClockSource = TIM_CLOCKSOURCE_INTERNAL;
  if (HAL_TIM_ConfigClockSource(&htim2, &sClockSourceConfig) != HAL_OK) {
    Error_Handler();
  }
  if (HAL_TIM_PWM_Init(&htim2) != HAL_OK) {
    Error_Handler();
  }
  sMasterConfig.MasterOutputTrigger = TIM_TRGO_RESET;
  sMasterConfig.MasterSlaveMode = TIM_MASTERSLAVEMODE_DISABLE;
  if (HAL_TIMEx_MasterConfigSynchronization(&htim2, &sMasterConfig) != HAL_OK) {
    Error_Handler();
  }
  sConfigOC.OCMode = TIM_OCMODE_PWM1;
  sConfigOC.Pulse = 0;
  sConfigOC.OCPolarity = TIM_OCPOLARITY_HIGH;
  sConfigOC.OCFastMode = TIM_OCFAST_ENABLE;
  if (HAL_TIM_PWM_ConfigChannel(&htim2, &sConfigOC, TIM_CHANNEL_1) != HAL_OK) {
    Error_Handler();
  }
  HAL_TIM_MspPostInit(&htim2);
}

static void MX_GPIO_Init(void) {
  GPIO_InitTypeDef GPIO_InitStruct = {0};

  /* GPIO Ports Clock Enable */
  __HAL_RCC_GPIOE_CLK_ENABLE();
  __HAL_RCC_GPIOA_CLK_ENABLE();
  __HAL_RCC_GPIOD_CLK_ENABLE();
  __HAL_RCC_GPIOG_CLK_ENABLE();
  HAL_PWREx_EnableVddIO2();

  /*Configure GPIO pin Output Level */
  HAL_GPIO_WritePin(LED_1_GPIO_Port, LED_1_Pin, GPIO_PIN_RESET);

  /*Configure GPIO pin Output Level */
  HAL_GPIO_WritePin(LED_2_GPIO_Port, LED_2_Pin, GPIO_PIN_RESET);

  /*Configure GPIO pin Output Level */
  HAL_GPIO_WritePin(GPIOG, LED_LOW_Pin | LED_MID_Pin | LED_HIGH_Pin,
                    GPIO_PIN_RESET);

  /*Configure GPIO pin : BTN_1_Pin */
  GPIO_InitStruct.Pin = BTN_1_Pin;
  GPIO_InitStruct.Mode = GPIO_MODE_IT_RISING_FALLING;
  GPIO_InitStruct.Pull = GPIO_NOPULL;
  HAL_GPIO_Init(BTN_1_GPIO_Port, &GPIO_InitStruct);

  /*Configure GPIO pin : LED_1_Pin */
  GPIO_InitStruct.Pin = LED_1_Pin;
  GPIO_InitStruct.Mode = GPIO_MODE_OUTPUT_PP;
  GPIO_InitStruct.Pull = GPIO_NOPULL;
  GPIO_InitStruct.Speed = GPIO_SPEED_FREQ_LOW;
  HAL_GPIO_Init(LED_1_GPIO_Port, &GPIO_InitStruct);

  /*Configure GPIO pin : LED_2_Pin */
  GPIO_InitStruct.Pin = LED_2_Pin;
  GPIO_InitStruct.Mode = GPIO_MODE_OUTPUT_PP;
  GPIO_InitStruct.Pull = GPIO_NOPULL;
  GPIO_InitStruct.Speed = GPIO_SPEED_FREQ_LOW;
  HAL_GPIO_Init(LED_2_GPIO_Port, &GPIO_InitStruct);

  /*Configure GPIO pins : LED_LOW_Pin LED_MID_Pin LED_HIGH_Pin */
  GPIO_InitStruct.Pin = LED_LOW_Pin | LED_MID_Pin | LED_HIGH_Pin;
  GPIO_InitStruct.Mode = GPIO_MODE_OUTPUT_PP;
  GPIO_InitStruct.Pull = GPIO_NOPULL;
  GPIO_InitStruct.Speed = GPIO_SPEED_FREQ_LOW;
  HAL_GPIO_Init(GPIOG, &GPIO_InitStruct);

  /* EXTI interrupt init*/
  HAL_NVIC_SetPriority(EXTI0_IRQn, 0, 0);
  HAL_NVIC_EnableIRQ(EXTI0_IRQn);

}

/* USER CODE BEGIN 4 */
/**
 * @brief Initialize SCD4x driver and device.
 */
static void SCD4x_Init(scd4x_handle_t *scd4x_handle_p) {
  uint8_t res;

  DRIVER_SCD4X_LINK_INIT(scd4x_handle_p, scd4x_handle_t);
  DRIVER_SCD4X_LINK_IIC_INIT(scd4x_handle_p, scd4x_interface_iic_init);
  DRIVER_SCD4X_LINK_IIC_DEINIT(scd4x_handle_p, scd4x_interface_iic_deinit);
  DRIVER_SCD4X_LINK_IIC_WRITE_COMMAND(scd4x_handle_p,
                                      scd4x_interface_iic_write_cmd);
  DRIVER_SCD4X_LINK_IIC_READ_COMMAND(scd4x_handle_p,
                                     scd4x_interface_iic_read_cmd);
  DRIVER_SCD4X_LINK_DELAY_MS(scd4x_handle_p, scd4x_interface_delay_ms);
  DRIVER_SCD4X_LINK_DEBUG_PRINT(scd4x_handle_p, scd4x_interface_debug_print);

  (void)scd4x_set_type(scd4x_handle_p, SCD41);

  res = scd4x_init(scd4x_handle_p);
  if (res != 0) {
    scd4x_interface_debug_print("scd4x_init failed: %u\n", res);
    Error_Handler();
  }
}

/**
 * @brief Initialize SEN5x driver and device.
 */
static void SEN5X_Init(sen5x_handle_t *sen5x_handle_p) {
  uint8_t res;

  DRIVER_SEN5X_LINK_INIT(sen5x_handle_p, sen5x_handle_t);
  DRIVER_SEN5X_LINK_IIC_INIT(sen5x_handle_p, sen5x_interface_iic_init);
  DRIVER_SEN5X_LINK_IIC_DEINIT(sen5x_handle_p, sen5x_interface_iic_deinit);
  DRIVER_SEN5X_LINK_IIC_WRITE_COMMAND(sen5x_handle_p,
                                      sen5x_interface_iic_write_cmd);
  DRIVER_SEN5X_LINK_IIC_READ_COMMAND(sen5x_handle_p,
                                     sen5x_interface_iic_read_cmd);
  DRIVER_SEN5X_LINK_DELAY_MS(sen5x_handle_p, sen5x_interface_delay_ms);
  DRIVER_SEN5X_LINK_DEBUG_PRINT(sen5x_handle_p, sen5x_interface_debug_print);

  (void)sen5x_set_type(sen5x_handle_p, SEN55);

  res = sen5x_init(sen5x_handle_p);
  if (res != 0) {
    sen5x_interface_debug_print("sen5x_init failed: %u\n", res);
    Error_Handler();
  }
}

/**
 * @brief Run debug tests for peripherals.
 */
static void run_debug_tests(void) {
  sen5x_run_full_test_once();
  scd4x_run_full_test_once();
  ssd1306_TestAll();
}

/**
 * @brief Poll for 1s for user pressing button to enter debug mode.
 */
bool poll_is_debug_mode(void) {
  uint32_t startup_time = HAL_GetTick();
  while (HAL_GetTick() - startup_time < 1000U) {
    if (HAL_GPIO_ReadPin(BTN_1_GPIO_Port, BTN_1_Pin) == GPIO_PIN_SET) {
      uint32_t btn_press_start = HAL_GetTick();
      while (HAL_GPIO_ReadPin(BTN_1_GPIO_Port, BTN_1_Pin) == GPIO_PIN_SET) {
        if (HAL_GetTick() - btn_press_start >= 100U) {
          return true;
        }
        HAL_Delay(10);
      }
      break;
    }
    HAL_Delay(100);
  }
  return false;
}
/* USER CODE END 4 */

void Error_Handler(void) {
  __disable_irq();
  while (1) {
  }
}
